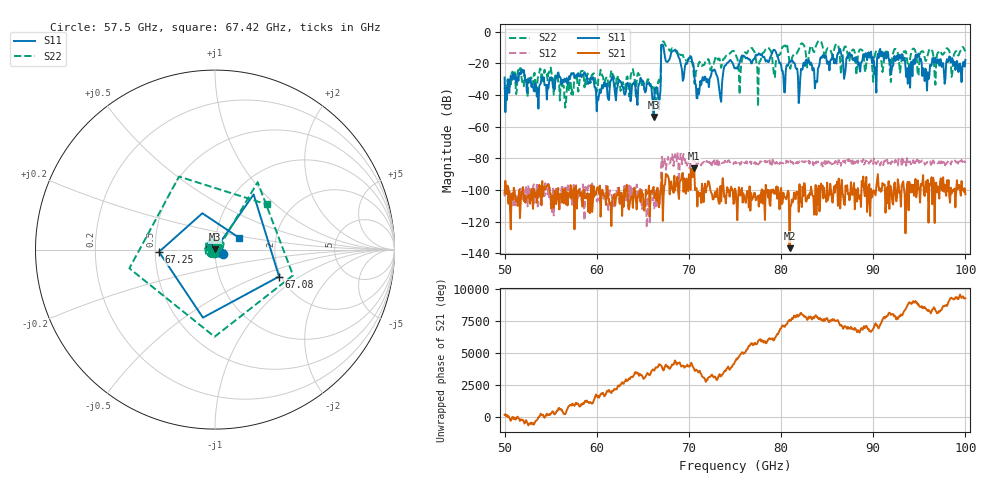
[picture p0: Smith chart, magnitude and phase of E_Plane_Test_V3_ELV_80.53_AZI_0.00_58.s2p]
! 11/26/2026 4:38:35 PM
! C:\ANRITSUVNA\TEMP\TEMP.S2P
! CHANNEL.1
! TR.MEASUREMENT
! RAW.DATA
# HZ S RI R 50.0
! FREQ.HZ  S11RE  S11IM  S21RE  S21IM  S12RE  S12IM  S22RE  S22IM
!; PortSelection: Port_12
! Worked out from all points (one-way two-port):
!   601 points, 50 GHz to 100 GHz, reference 50 ohm
!   highest |S21| = -86.50 dB at 70.5 GHz (marker M1); lowest = -137.0 dB at 80.92 GHz (marker M2)
!   lowest |S11| = -54.0 dB at 66.17 GHz (marker M3), VSWR 1.00, Z = 50.1 + j0.146 ohm
!   |S11| at or under -10 dB: start of sweep to 67 GHz; 67.24 GHz to end of sweep
!   |S22| runs from -48.0 to -5.6 dB; largest |S21 - S12| = 0.00018
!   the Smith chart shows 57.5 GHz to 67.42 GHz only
!   S11 on the Smith chart (normalised r, x): 57.5 GHz: 1.09, -0.05; 67.08 GHz: 1.95, -0.69; 67.25 GHz: 0.52, -0.01; 67.42 GHz: 1.29, +0.18
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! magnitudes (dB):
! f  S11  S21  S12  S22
! 50 GHz  -29.0  -102.2  -104.2  -35.4
! 57.5 GHz  -26.2  -99.0  -96.8  -34.6
! 58.42 GHz  -27.1  -110.5  -108.3  -24.8
! 60.17 GHz  -43.1  -98.7  -106.4  -30.3
! 66.17 GHz  -54.0  -98.1  -104.5  -34.0
! 66.67 GHz  -41.4  -106.8  -106.2  -31.6
! 67.08 GHz  -8.2  -89.3  -79.0  -6.8
! 67.25 GHz  -10.1  -104.1  -80.4  -6.2
! 67.42 GHz  -16.6  -96.5  -82.3  -8.3
! 70.5 GHz  -21.3  -86.5  -82.1  -24.9
! 70.92 GHz  -42.2  -110.5  -83.9  -23.2
! 75 GHz  -23.3  -99.2  -82.9  -13.0
! 75.5 GHz  -19.5  -99.8  -83.3  -39.7
! 76.67 GHz  -18.0  -113.2  -82.0  -11.3
! 77.5 GHz  -14.6  -103.8  -84.0  -47.4
! 80.92 GHz  -18.5  -137.0  -83.2  -19.3
! 83.42 GHz  -24.6  -103.7  -82.3  -10.8
! 91.67 GHz  -16.8  -94.5  -81.8  -15.2
! 93.75 GHz  -32.9  -94.9  -83.8  -21.1
! 94.83 GHz  -15.0  -94.0  -81.0  -27.9
! 95.83 GHz  -37.2  -101.4  -82.8  -16.5
! 100 GHz  -17.9  -102.7  -83.0  -12.5
